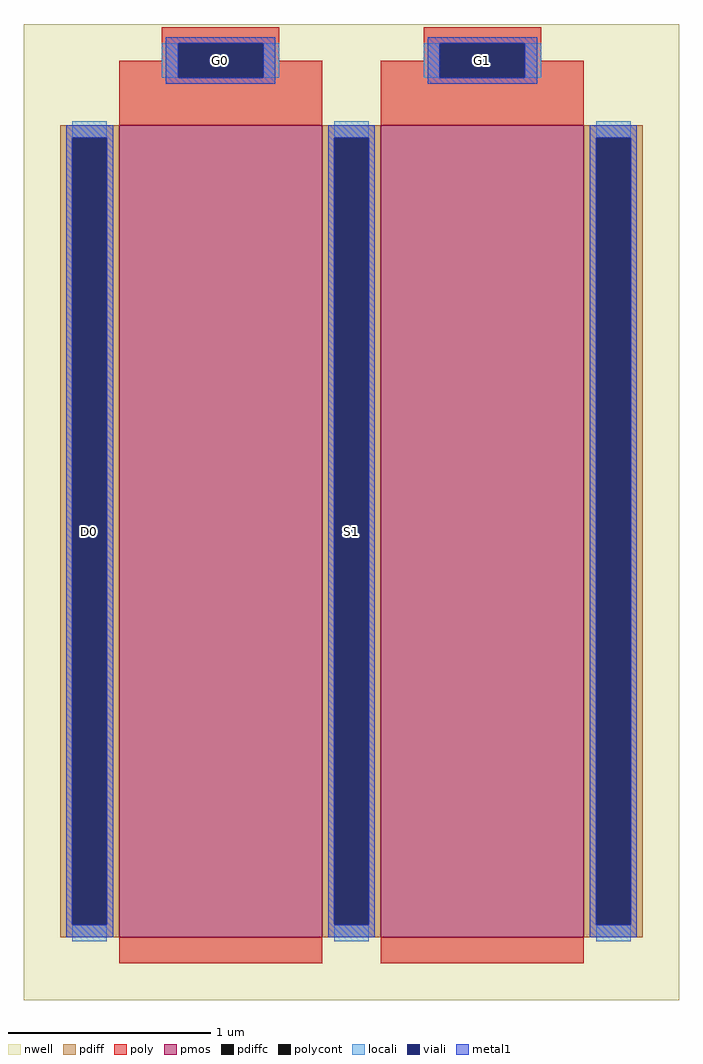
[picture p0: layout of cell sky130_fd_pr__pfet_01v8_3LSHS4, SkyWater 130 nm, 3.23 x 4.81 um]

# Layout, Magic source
magic
tech sky130A
magscale 1 2
<< nwell >>
rect -323 -498 323 464
<< pmos >>
rect -229 -436 -29 364
rect 29 -436 229 364
<< pdiff >>
rect -287 352 -229 364
rect -287 -424 -275 352
rect -241 -424 -229 352
rect -287 -436 -229 -424
rect -29 352 29 364
rect -29 -424 -17 352
rect 17 -424 29 352
rect -29 -436 29 -424
rect 229 352 287 364
rect 229 -424 241 352
rect 275 -424 287 352
rect 229 -436 287 -424
<< pdiffc >>
rect -275 -424 -241 352
rect -17 -424 17 352
rect 241 -424 275 352
<< poly >>
rect -187 445 -71 461
rect -187 428 -171 445
rect -229 411 -171 428
rect -87 428 -71 445
rect 71 445 187 461
rect 71 428 87 445
rect -87 411 -29 428
rect -229 364 -29 411
rect 29 411 87 428
rect 171 428 187 445
rect 171 411 229 428
rect 29 364 229 411
rect -229 -462 -29 -436
rect 29 -462 229 -436
<< polycont >>
rect -171 411 -87 445
rect 87 411 171 445
<< locali >>
rect -187 411 -171 445
rect -87 411 -71 445
rect 71 411 87 445
rect 171 411 187 445
rect -275 352 -241 368
rect -275 -440 -241 -424
rect -17 352 17 368
rect -17 -440 17 -424
rect 241 352 275 368
rect 241 -440 275 -424
<< viali >>
rect -171 411 -87 445
rect 87 411 171 445
rect -275 -424 -241 352
rect -17 -424 17 352
rect 241 -424 275 352
<< metal1 >>
rect -183 445 -75 451
rect -183 411 -171 445
rect -87 411 -75 445
rect -183 405 -75 411
rect 75 445 183 451
rect 75 411 87 445
rect 171 411 183 445
rect 75 405 183 411
rect -281 352 -235 364
rect -281 -424 -275 352
rect -241 -424 -235 352
rect -281 -436 -235 -424
rect -23 352 23 364
rect -23 -424 -17 352
rect 17 -424 23 352
rect -23 -436 23 -424
rect 235 352 281 364
rect 235 -424 241 352
rect 275 -424 281 352
rect 235 -436 281 -424
<< labels >>
rlabel pdiffc -258 -36 -258 -36 0 D0
port 1 nsew
rlabel polycont -129 428 -129 428 0 G0
port 2 nsew
rlabel pdiffc 0 -36 0 -36 0 S1
port 3 nsew
rlabel polycont 129 428 129 428 0 G1
port 4 nsew
<< properties >>
string gencell sky130_fd_pr__pfet_01v8
string library sky130
string parameters w 4 l 1 m 1 nf 2 diffcov 100 polycov 50 guard 0 glc 1 grc 1 gtc 1 gbc 1 tbcov 100 rlcov 100 topc 1 botc 0 poverlap 0 doverlap 1 lmin 0.15 wmin 0.42 class mosfet compatible {sky130_fd_pr__pfet_01v8  sky130_fd_pr__pfet_01v8_lvt sky130_fd_pr__pfet_01v8_hvt  sky130_fd_pr__pfet_g5v0d10v5} full_metal 1 conn_gates 0 viasrc 100 viadrn 100 viagate 50 viagb 0 viagr 0 viagl 0 viagt 0 doports 1
<< end >>
